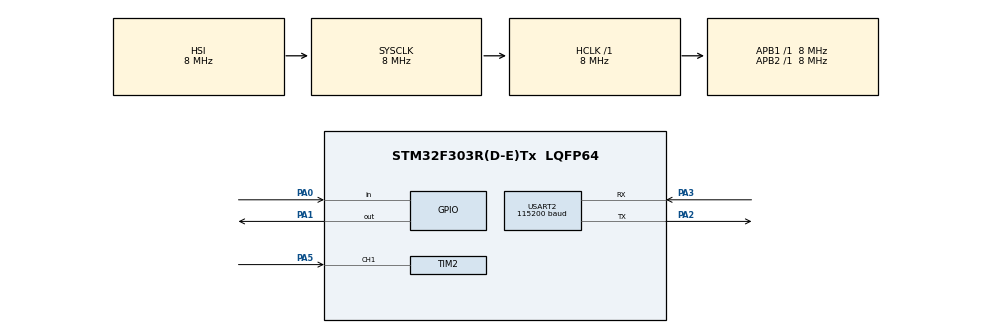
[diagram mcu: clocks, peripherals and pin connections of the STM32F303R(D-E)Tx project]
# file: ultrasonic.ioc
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Mcu.Family=STM32F3
Mcu.Name=STM32F303R(D-E)Tx
Mcu.Package=LQFP64
NVIC.PriorityGroup=NVIC_PRIORITYGROUP_4
NVIC.TIM2_IRQn=true\:0\:0\:false\:false\:true\:true
PA0.GPIO_PuPd=GPIO_PULLDOWN
PA0.Signal=GPIO_Input
PA1.GPIO_PuPd=GPIO_NOPULL
PA1.Signal=GPIO_Output
PA2.Mode=Asynchronous
PA2.Signal=USART2_TX
PA3.Mode=Asynchronous
PA3.Signal=USART2_RX
PA5.Signal=S_TIM2_CH1_ETR
ProjectManager.HeapSize=0x200
ProjectManager.StackSize=0x400
ProjectManager.TargetToolchain=TrueSTUDIO
RCC.AHBFreq_Value=8000000
RCC.APB1Freq_Value=8000000
RCC.APB2Freq_Value=8000000
RCC.CortexFreq_Value=8000000
RCC.HSE_VALUE=8000000
RCC.HSI_VALUE=8000000
RCC.LSE_VALUE=32768
RCC.SYSCLKFreq_VALUE=8000000
RCC.USBFreq_Value=16000000
SH.S_TIM2_CH1_ETR.0=TIM2_CH1,Input_Capture1_from_TI1
TIM2.AutoReloadPreload=TIM_AUTORELOAD_PRELOAD_DISABLE
TIM2.Channel-Input_Capture1_from_TI1=TIM_CHANNEL_1
TIM2.Period=0xffffffff
TIM2.Prescaler=7
USART2.BaudRate=115200
USART2.VirtualMode-Asynchronous=VM_ASYNC
USART2.WordLength=WORDLENGTH_8B
VP_TIM2_VS_ClockSourceINT.Mode=Internal
board=ultrasonic

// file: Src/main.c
/**
  ******************************************************************************
  * @file           : main.c
  * @brief          : Main program body
  ******************************************************************************
  ** This notice applies to any and all portions of this file
  * that are not between comment pairs USER CODE BEGIN and
  * USER CODE END. Other portions of this file, whether
  * inserted by the user or by software development tools
  * are owned by their respective copyright owners.
  *
  * COPYRIGHT(c) 2018 STMicroelectronics
  *
  * Redistribution and use in source and binary forms, with or without modification,
  * are permitted provided that the following conditions are met:
  *   1. Redistributions of source code must retain the above copyright notice,
  *      this list of conditions and the following disclaimer.
  *   2. Redistributions in binary form must reproduce the above copyright notice,
  *      this list of conditions and the following disclaimer in the documentation
  *      and/or other materials provided with the distribution.
  *   3. Neither the name of STMicroelectronics nor the names of its contributors
  *      may be used to endorse or promote products derived from this software
  *      without specific prior written permission.
  *
  * THIS SOFTWARE IS PROVIDED BY THE COPYRIGHT HOLDERS AND CONTRIBUTORS "AS IS"
  * AND ANY EXPRESS OR IMPLIED WARRANTIES, INCLUDING, BUT NOT LIMITED TO, THE
  * IMPLIED WARRANTIES OF MERCHANTABILITY AND FITNESS FOR A PARTICULAR PURPOSE ARE
  * DISCLAIMED. IN NO EVENT SHALL THE COPYRIGHT HOLDER OR CONTRIBUTORS BE LIABLE
  * FOR ANY DIRECT, INDIRECT, INCIDENTAL, SPECIAL, EXEMPLARY, OR CONSEQUENTIAL
  * DAMAGES (INCLUDING, BUT NOT LIMITED TO, PROCUREMENT OF SUBSTITUTE GOODS OR
  * SERVICES; LOSS OF USE, DATA, OR PROFITS; OR BUSINESS INTERRUPTION) HOWEVER
  * CAUSED AND ON ANY THEORY OF LIABILITY, WHETHER IN CONTRACT, STRICT LIABILITY,
  * OR TORT (INCLUDING NEGLIGENCE OR OTHERWISE) ARISING IN ANY WAY OUT OF THE USE
  * OF THIS SOFTWARE, EVEN IF ADVISED OF THE POSSIBILITY OF SUCH DAMAGE.
  *
  ******************************************************************************
  */
#include "main.h"
#include "stm32f3xx_hal.h"

TIM_HandleTypeDef htim2;

UART_HandleTypeDef huart2;

/* USER CODE BEGIN PV */
/* Private variables ---------------------------------------------------------*/

/* USER CODE END PV */

void SystemClock_Config(void);
static void MX_GPIO_Init(void);
static void MX_USART2_UART_Init(void);
static void MX_TIM2_Init(void);

/* USER CODE BEGIN PFP */
/* Private function prototypes -----------------------------------------------*/

/* USER CODE END PFP */

int main(void)
{

  /* MCU Configuration----------------------------------------------------------*/

  /* Reset of all peripherals, Initializes the Flash interface and the Systick. */
  HAL_Init();

  /* Configure the system clock */
  SystemClock_Config();

  /* Initialize all configured peripherals */
  MX_GPIO_Init();
  MX_USART2_UART_Init();
  MX_TIM2_Init();

  /* Infinite loop */
  /* USER CODE BEGIN WHILE */
  while (1)
  {
    while(HAL_TIM_Base_Start(&htim2)!=HAL_OK);
	  HAL_GPIO_WritePin(GPIOA,GPIO_PIN_1,1);
	  HAL_Delay(1);
	  HAL_GPIO_WritePin(GPIOA,GPIO_PIN_1,0);
	  while(!HAL_GPIO_ReadPin(GPIOA,GPIO_PIN_0));
	  uint32_t t1=HAL_TIM_ReadCapturedValue(&htim2,TIM_CHANNEL_1);
	  while(HAL_GPIO_ReadPin(GPIOA,GPIO_PIN_0));
	  uint32_t t2=HAL_TIM_ReadCapturedValue(&htim2,TIM_CHANNEL_1);
	  double distance=0;
    if(t2>t1){
      distance=(t2-t1)/(double)58;
    }else{
      distance=(__HAL_TIM_GET_AUTORELOAD(&htim2)-t1+1+t2)/(double)58;
    }
    int integer=(int)distance;
	  int point=(int)((distance-integer)*100);
	  char tosend[20]={0};
	  sprintf(tosend,"%d.%02d\r\n",integer,point);
	  HAL_UART_Transmit(&huart2,tosend,sizeof(tosend),0xffff);
	  HAL_Delay(400);
  /* USER CODE END WHILE */

  }

}

void SystemClock_Config(void)
{

  RCC_OscInitTypeDef RCC_OscInitStruct;
  RCC_ClkInitTypeDef RCC_ClkInitStruct;
  RCC_PeriphCLKInitTypeDef PeriphClkInit;

    /**Initializes the CPU, AHB and APB busses clocks
    */
  RCC_OscInitStruct.OscillatorType = RCC_OSCILLATORTYPE_HSI;
  RCC_OscInitStruct.HSIState = RCC_HSI_ON;
  RCC_OscInitStruct.HSICalibrationValue = 16;
  RCC_OscInitStruct.PLL.PLLState = RCC_PLL_NONE;
  if (HAL_RCC_OscConfig(&RCC_OscInitStruct) != HAL_OK)
  {
    _Error_Handler(__FILE__, __LINE__);
  }

    /**Initializes the CPU, AHB and APB busses clocks
    */
  RCC_ClkInitStruct.ClockType = RCC_CLOCKTYPE_HCLK|RCC_CLOCKTYPE_SYSCLK
                              |RCC_CLOCKTYPE_PCLK1|RCC_CLOCKTYPE_PCLK2;
  RCC_ClkInitStruct.SYSCLKSource = RCC_SYSCLKSOURCE_HSI;
  RCC_ClkInitStruct.AHBCLKDivider = RCC_SYSCLK_DIV1;
  RCC_ClkInitStruct.APB1CLKDivider = RCC_HCLK_DIV1;
  RCC_ClkInitStruct.APB2CLKDivider = RCC_HCLK_DIV1;

  if (HAL_RCC_ClockConfig(&RCC_ClkInitStruct, FLASH_LATENCY_0) != HAL_OK)
  {
    _Error_Handler(__FILE__, __LINE__);
  }

  PeriphClkInit.PeriphClockSelection = RCC_PERIPHCLK_USART2|RCC_PERIPHCLK_TIM2;
  PeriphClkInit.Usart2ClockSelection = RCC_USART2CLKSOURCE_PCLK1;
  PeriphClkInit.Tim2ClockSelection = RCC_TIM2CLK_HCLK;
  if (HAL_RCCEx_PeriphCLKConfig(&PeriphClkInit) != HAL_OK)
  {
    _Error_Handler(__FILE__, __LINE__);
  }

    /**Configure the Systick interrupt time
    */
  HAL_SYSTICK_Config(HAL_RCC_GetHCLKFreq()/1000);

    /**Configure the Systick
    */
  HAL_SYSTICK_CLKSourceConfig(SYSTICK_CLKSOURCE_HCLK);

  /* SysTick_IRQn interrupt configuration */
  HAL_NVIC_SetPriority(SysTick_IRQn, 0, 0);
}

/* TIM2 init function */
static void MX_TIM2_Init(void)
{

  TIM_ClockConfigTypeDef sClockSourceConfig;
  TIM_MasterConfigTypeDef sMasterConfig;
  TIM_IC_InitTypeDef sConfigIC;

  htim2.Instance = TIM2;
  htim2.Init.Prescaler = 7;
  htim2.Init.CounterMode = TIM_COUNTERMODE_UP;
  htim2.Init.Period = 0xffffffff;
  htim2.Init.ClockDivision = TIM_CLOCKDIVISION_DIV1;
  htim2.Init.AutoReloadPreload = TIM_AUTORELOAD_PRELOAD_DISABLE;
  if (HAL_TIM_Base_Init(&htim2) != HAL_OK)
  {
    _Error_Handler(__FILE__, __LINE__);
  }

  sClockSourceConfig.ClockSource = TIM_CLOCKSOURCE_INTERNAL;
  if (HAL_TIM_ConfigClockSource(&htim2, &sClockSourceConfig) != HAL_OK)
  {
    _Error_Handler(__FILE__, __LINE__);
  }

  if (HAL_TIM_IC_Init(&htim2) != HAL_OK)
  {
    _Error_Handler(__FILE__, __LINE__);
  }

  sMasterConfig.MasterOutputTrigger = TIM_TRGO_RESET;
  sMasterConfig.MasterSlaveMode = TIM_MASTERSLAVEMODE_DISABLE;
  if (HAL_TIMEx_MasterConfigSynchronization(&htim2, &sMasterConfig) != HAL_OK)
  {
    _Error_Handler(__FILE__, __LINE__);
  }

  sConfigIC.ICPolarity = TIM_INPUTCHANNELPOLARITY_RISING;
  sConfigIC.ICSelection = TIM_ICSELECTION_DIRECTTI;
  sConfigIC.ICPrescaler = TIM_ICPSC_DIV1;
  sConfigIC.ICFilter = 0;
  if (HAL_TIM_IC_ConfigChannel(&htim2, &sConfigIC, TIM_CHANNEL_1) != HAL_OK)
  {
    _Error_Handler(__FILE__, __LINE__);
  }

}

/* USART2 init function */
static void MX_USART2_UART_Init(void)
{

  huart2.Instance = USART2;
  huart2.Init.BaudRate = 115200;
  huart2.Init.WordLength = UART_WORDLENGTH_8B;
  huart2.Init.StopBits = UART_STOPBITS_1;
  huart2.Init.Parity = UART_PARITY_NONE;
  huart2.Init.Mode = UART_MODE_TX_RX;
  huart2.Init.HwFlowCtl = UART_HWCONTROL_NONE;
  huart2.Init.OverSampling = UART_OVERSAMPLING_16;
  huart2.Init.OneBitSampling = UART_ONE_BIT_SAMPLE_DISABLE;
  huart2.AdvancedInit.AdvFeatureInit = UART_ADVFEATURE_NO_INIT;
  if (HAL_UART_Init(&huart2) != HAL_OK)
  {
    _Error_Handler(__FILE__, __LINE__);
  }

}

/** Configure pins as
        * Analog
        * Input
        * Output
        * EVENT_OUT
        * EXTI
*/
static void MX_GPIO_Init(void)
{

  GPIO_InitTypeDef GPIO_InitStruct;

  /* GPIO Ports Clock Enable */
  __HAL_RCC_GPIOA_CLK_ENABLE();

  /*Configure GPIO pin Output Level */
  HAL_GPIO_WritePin(GPIOA, GPIO_PIN_1, GPIO_PIN_RESET);

  /*Configure GPIO pin : PA0 */
  GPIO_InitStruct.Pin = GPIO_PIN_0;
  GPIO_InitStruct.Mode = GPIO_MODE_INPUT;
  GPIO_InitStruct.Pull = GPIO_PULLDOWN;
  HAL_GPIO_Init(GPIOA, &GPIO_InitStruct);

  /*Configure GPIO pin : PA1 */
  GPIO_InitStruct.Pin = GPIO_PIN_1;
  GPIO_InitStruct.Mode = GPIO_MODE_OUTPUT_PP;
  GPIO_InitStruct.Pull = GPIO_NOPULL;
  GPIO_InitStruct.Speed = GPIO_SPEED_FREQ_LOW;
  HAL_GPIO_Init(GPIOA, &GPIO_InitStruct);

}

void _Error_Handler(char *file, int line)
{
  while(1)
  {
  }
}

/************************ (C) COPYRIGHT STMicroelectronics *****END OF FILE****/
